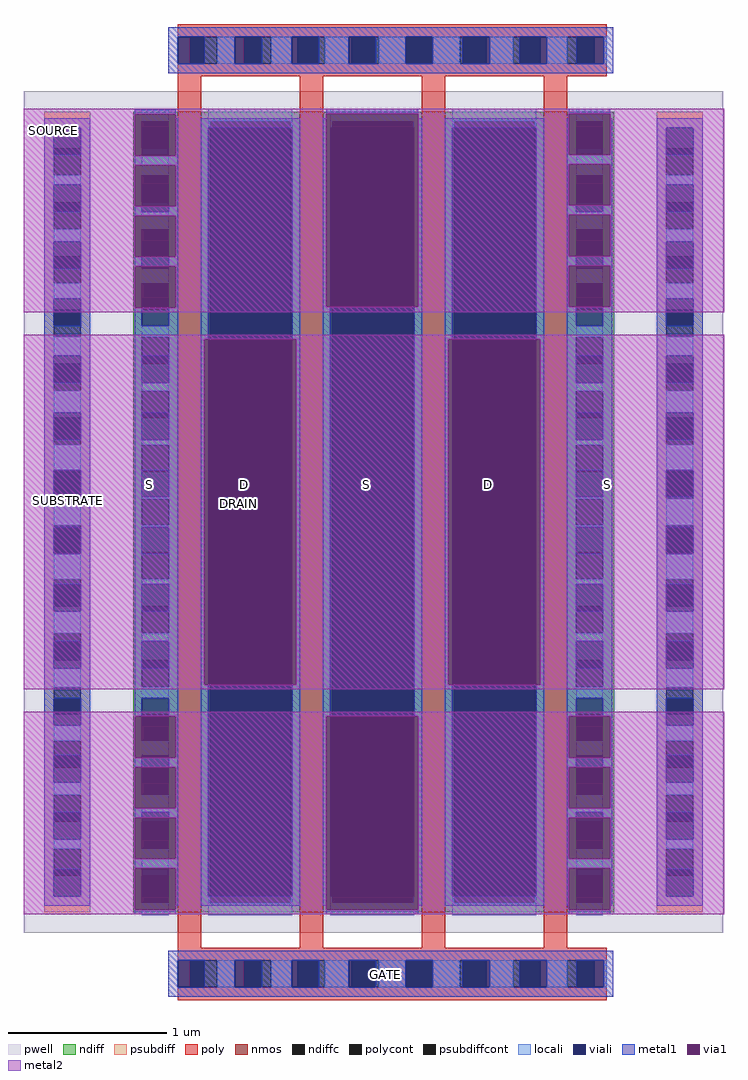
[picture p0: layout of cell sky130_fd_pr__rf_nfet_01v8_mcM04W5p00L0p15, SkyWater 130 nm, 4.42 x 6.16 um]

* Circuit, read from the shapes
.subckt sky130_fd_pr__rf_nfet_01v8_mcM04W5p00L0p15 DRAIN GATE SOURCE SUBSTRATE
XM1 DRAIN GATE SOURCE SUBSTRATE sky130_fd_pr__nfet_01v8 w=5.05 l=0.15 m=4
.ends

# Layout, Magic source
magic
tech sky130A
magscale 1 2
<< pwell >>
rect 0 89 883 1151
<< nmos >>
rect 194 115 224 1125
rect 348 115 378 1125
rect 502 115 532 1125
rect 656 115 686 1125
<< ndiff >>
rect 138 1113 194 1125
rect 138 1079 149 1113
rect 183 1079 194 1113
rect 138 1045 194 1079
rect 138 1011 149 1045
rect 183 1011 194 1045
rect 138 977 194 1011
rect 138 943 149 977
rect 183 943 194 977
rect 138 909 194 943
rect 138 875 149 909
rect 183 875 194 909
rect 138 841 194 875
rect 138 807 149 841
rect 183 807 194 841
rect 138 773 194 807
rect 138 739 149 773
rect 183 739 194 773
rect 138 705 194 739
rect 138 671 149 705
rect 183 671 194 705
rect 138 637 194 671
rect 138 603 149 637
rect 183 603 194 637
rect 138 569 194 603
rect 138 535 149 569
rect 183 535 194 569
rect 138 501 194 535
rect 138 467 149 501
rect 183 467 194 501
rect 138 433 194 467
rect 138 399 149 433
rect 183 399 194 433
rect 138 365 194 399
rect 138 331 149 365
rect 183 331 194 365
rect 138 297 194 331
rect 138 263 149 297
rect 183 263 194 297
rect 138 229 194 263
rect 138 195 149 229
rect 183 195 194 229
rect 138 161 194 195
rect 138 127 149 161
rect 183 127 194 161
rect 138 115 194 127
rect 224 1113 348 1125
rect 224 127 235 1113
rect 337 127 348 1113
rect 224 115 348 127
rect 378 1113 502 1125
rect 378 127 389 1113
rect 491 127 502 1113
rect 378 115 502 127
rect 532 1113 656 1125
rect 532 127 543 1113
rect 645 127 656 1113
rect 532 115 656 127
rect 686 1113 745 1125
rect 686 1079 697 1113
rect 731 1079 745 1113
rect 686 1045 745 1079
rect 686 1011 697 1045
rect 731 1011 745 1045
rect 686 977 745 1011
rect 686 943 697 977
rect 731 943 745 977
rect 686 909 745 943
rect 686 875 697 909
rect 731 875 745 909
rect 686 841 745 875
rect 686 807 697 841
rect 731 807 745 841
rect 686 773 745 807
rect 686 739 697 773
rect 731 739 745 773
rect 686 705 745 739
rect 686 671 697 705
rect 731 671 745 705
rect 686 637 745 671
rect 686 603 697 637
rect 731 603 745 637
rect 686 569 745 603
rect 686 535 697 569
rect 731 535 745 569
rect 686 501 745 535
rect 686 467 697 501
rect 731 467 745 501
rect 686 433 745 467
rect 686 399 697 433
rect 731 399 745 433
rect 686 365 745 399
rect 686 331 697 365
rect 731 331 745 365
rect 686 297 745 331
rect 686 263 697 297
rect 731 263 745 297
rect 686 229 745 263
rect 686 195 697 229
rect 731 195 745 229
rect 686 161 745 195
rect 686 127 697 161
rect 731 127 745 161
rect 686 115 745 127
<< ndiffc >>
rect 149 1079 183 1113
rect 149 1011 183 1045
rect 149 943 183 977
rect 149 875 183 909
rect 149 807 183 841
rect 149 739 183 773
rect 149 671 183 705
rect 149 603 183 637
rect 149 535 183 569
rect 149 467 183 501
rect 149 399 183 433
rect 149 331 183 365
rect 149 263 183 297
rect 149 195 183 229
rect 149 127 183 161
rect 235 127 337 1113
rect 389 127 491 1113
rect 543 127 645 1113
rect 697 1079 731 1113
rect 697 1011 731 1045
rect 697 943 731 977
rect 697 875 731 909
rect 697 807 731 841
rect 697 739 731 773
rect 697 671 731 705
rect 697 603 731 637
rect 697 535 731 569
rect 697 467 731 501
rect 697 399 731 433
rect 697 331 731 365
rect 697 263 731 297
rect 697 195 731 229
rect 697 127 731 161
<< psubdiff >>
rect 26 1079 84 1125
rect 26 1045 38 1079
rect 72 1045 84 1079
rect 26 1011 84 1045
rect 26 977 38 1011
rect 72 977 84 1011
rect 26 943 84 977
rect 26 909 38 943
rect 72 909 84 943
rect 26 875 84 909
rect 26 841 38 875
rect 72 841 84 875
rect 26 807 84 841
rect 26 773 38 807
rect 72 773 84 807
rect 26 739 84 773
rect 26 705 38 739
rect 72 705 84 739
rect 26 671 84 705
rect 26 637 38 671
rect 72 637 84 671
rect 26 603 84 637
rect 26 569 38 603
rect 72 569 84 603
rect 26 535 84 569
rect 26 501 38 535
rect 72 501 84 535
rect 26 467 84 501
rect 26 433 38 467
rect 72 433 84 467
rect 26 399 84 433
rect 26 365 38 399
rect 72 365 84 399
rect 26 331 84 365
rect 26 297 38 331
rect 72 297 84 331
rect 26 263 84 297
rect 26 229 38 263
rect 72 229 84 263
rect 26 195 84 229
rect 26 161 38 195
rect 72 161 84 195
rect 26 115 84 161
rect 799 1079 857 1125
rect 799 1045 811 1079
rect 845 1045 857 1079
rect 799 1011 857 1045
rect 799 977 811 1011
rect 845 977 857 1011
rect 799 943 857 977
rect 799 909 811 943
rect 845 909 857 943
rect 799 875 857 909
rect 799 841 811 875
rect 845 841 857 875
rect 799 807 857 841
rect 799 773 811 807
rect 845 773 857 807
rect 799 739 857 773
rect 799 705 811 739
rect 845 705 857 739
rect 799 671 857 705
rect 799 637 811 671
rect 845 637 857 671
rect 799 603 857 637
rect 799 569 811 603
rect 845 569 857 603
rect 799 535 857 569
rect 799 501 811 535
rect 845 501 857 535
rect 799 467 857 501
rect 799 433 811 467
rect 845 433 857 467
rect 799 399 857 433
rect 799 365 811 399
rect 845 365 857 399
rect 799 331 857 365
rect 799 297 811 331
rect 845 297 857 331
rect 799 263 857 297
rect 799 229 811 263
rect 845 229 857 263
rect 799 195 857 229
rect 799 161 811 195
rect 845 161 857 195
rect 799 115 857 161
<< psubdiffcont >>
rect 38 1045 72 1079
rect 38 977 72 1011
rect 38 909 72 943
rect 38 841 72 875
rect 38 773 72 807
rect 38 705 72 739
rect 38 637 72 671
rect 38 569 72 603
rect 38 501 72 535
rect 38 433 72 467
rect 38 365 72 399
rect 38 297 72 331
rect 38 229 72 263
rect 38 161 72 195
rect 811 1045 845 1079
rect 811 977 845 1011
rect 811 909 845 943
rect 811 841 845 875
rect 811 773 845 807
rect 811 705 845 739
rect 811 637 845 671
rect 811 569 845 603
rect 811 501 845 535
rect 811 433 845 467
rect 811 365 845 399
rect 811 297 845 331
rect 811 229 845 263
rect 811 161 845 195
<< poly >>
rect 194 1220 736 1236
rect 194 1186 210 1220
rect 244 1186 278 1220
rect 312 1186 346 1220
rect 380 1186 414 1220
rect 448 1186 482 1220
rect 516 1186 550 1220
rect 584 1186 618 1220
rect 652 1186 686 1220
rect 720 1186 736 1220
rect 194 1170 736 1186
rect 194 1125 224 1170
rect 348 1125 378 1170
rect 502 1125 532 1170
rect 656 1125 686 1170
rect 194 70 224 115
rect 348 70 378 115
rect 502 70 532 115
rect 656 70 686 115
rect 194 54 736 70
rect 194 20 210 54
rect 244 20 278 54
rect 312 20 346 54
rect 380 20 414 54
rect 448 20 482 54
rect 516 20 550 54
rect 584 20 618 54
rect 652 20 686 54
rect 720 20 736 54
rect 194 4 736 20
<< polycont >>
rect 210 1186 244 1220
rect 278 1186 312 1220
rect 346 1186 380 1220
rect 414 1186 448 1220
rect 482 1186 516 1220
rect 550 1186 584 1220
rect 618 1186 652 1220
rect 686 1186 720 1220
rect 210 20 244 54
rect 278 20 312 54
rect 346 20 380 54
rect 414 20 448 54
rect 482 20 516 54
rect 550 20 584 54
rect 618 20 652 54
rect 686 20 720 54
<< locali >>
rect 244 1186 266 1220
rect 312 1186 338 1220
rect 380 1186 410 1220
rect 448 1186 482 1220
rect 516 1186 550 1220
rect 588 1186 618 1220
rect 660 1186 686 1220
rect 732 1186 736 1220
rect 149 1113 183 1129
rect 38 1033 72 1045
rect 38 961 72 977
rect 38 889 72 909
rect 38 817 72 841
rect 38 745 72 773
rect 38 673 72 705
rect 38 603 72 637
rect 38 535 72 567
rect 38 467 72 495
rect 38 399 72 423
rect 38 331 72 351
rect 38 263 72 279
rect 38 195 72 207
rect 149 1045 183 1071
rect 149 977 183 999
rect 149 909 183 927
rect 149 841 183 855
rect 149 773 183 783
rect 149 705 183 711
rect 149 637 183 639
rect 149 601 183 603
rect 149 529 183 535
rect 149 457 183 467
rect 149 385 183 399
rect 149 313 183 331
rect 149 241 183 263
rect 149 169 183 195
rect 149 111 183 127
rect 233 1113 339 1129
rect 233 1105 235 1113
rect 337 1105 339 1113
rect 233 127 235 135
rect 337 127 339 135
rect 233 111 339 127
rect 387 1113 493 1129
rect 387 1105 389 1113
rect 491 1105 493 1113
rect 387 127 389 135
rect 491 127 493 135
rect 387 111 493 127
rect 541 1113 647 1129
rect 541 1105 543 1113
rect 645 1105 647 1113
rect 541 127 543 135
rect 645 127 647 135
rect 541 111 647 127
rect 697 1113 731 1129
rect 697 1045 731 1071
rect 697 977 731 999
rect 697 909 731 927
rect 697 841 731 855
rect 697 773 731 783
rect 697 705 731 711
rect 697 637 731 639
rect 697 601 731 603
rect 697 529 731 535
rect 697 457 731 467
rect 697 385 731 399
rect 697 313 731 331
rect 697 241 731 263
rect 697 169 731 195
rect 811 1033 845 1045
rect 811 961 845 977
rect 811 889 845 909
rect 811 817 845 841
rect 811 745 845 773
rect 811 673 845 705
rect 811 603 845 637
rect 811 535 845 567
rect 811 467 845 495
rect 811 399 845 423
rect 811 331 845 351
rect 811 263 845 279
rect 811 195 845 207
rect 697 111 731 127
rect 244 20 266 54
rect 312 20 338 54
rect 380 20 410 54
rect 448 20 482 54
rect 516 20 550 54
rect 588 20 618 54
rect 660 20 686 54
rect 732 20 736 54
<< viali >>
rect 194 1186 210 1220
rect 210 1186 228 1220
rect 266 1186 278 1220
rect 278 1186 300 1220
rect 338 1186 346 1220
rect 346 1186 372 1220
rect 410 1186 414 1220
rect 414 1186 444 1220
rect 482 1186 516 1220
rect 554 1186 584 1220
rect 584 1186 588 1220
rect 626 1186 652 1220
rect 652 1186 660 1220
rect 698 1186 720 1220
rect 720 1186 732 1220
rect 38 1079 72 1105
rect 38 1071 72 1079
rect 38 1011 72 1033
rect 38 999 72 1011
rect 38 943 72 961
rect 38 927 72 943
rect 38 875 72 889
rect 38 855 72 875
rect 38 807 72 817
rect 38 783 72 807
rect 38 739 72 745
rect 38 711 72 739
rect 38 671 72 673
rect 38 639 72 671
rect 38 569 72 601
rect 38 567 72 569
rect 38 501 72 529
rect 38 495 72 501
rect 38 433 72 457
rect 38 423 72 433
rect 38 365 72 385
rect 38 351 72 365
rect 38 297 72 313
rect 38 279 72 297
rect 38 229 72 241
rect 38 207 72 229
rect 38 161 72 169
rect 38 135 72 161
rect 149 1079 183 1105
rect 149 1071 183 1079
rect 149 1011 183 1033
rect 149 999 183 1011
rect 149 943 183 961
rect 149 927 183 943
rect 149 875 183 889
rect 149 855 183 875
rect 149 807 183 817
rect 149 783 183 807
rect 149 739 183 745
rect 149 711 183 739
rect 149 671 183 673
rect 149 639 183 671
rect 149 569 183 601
rect 149 567 183 569
rect 149 501 183 529
rect 149 495 183 501
rect 149 433 183 457
rect 149 423 183 433
rect 149 365 183 385
rect 149 351 183 365
rect 149 297 183 313
rect 149 279 183 297
rect 149 229 183 241
rect 149 207 183 229
rect 149 161 183 169
rect 149 135 183 161
rect 233 135 235 1105
rect 235 135 337 1105
rect 337 135 339 1105
rect 387 135 389 1105
rect 389 135 491 1105
rect 491 135 493 1105
rect 541 135 543 1105
rect 543 135 645 1105
rect 645 135 647 1105
rect 697 1079 731 1105
rect 697 1071 731 1079
rect 697 1011 731 1033
rect 697 999 731 1011
rect 697 943 731 961
rect 697 927 731 943
rect 697 875 731 889
rect 697 855 731 875
rect 697 807 731 817
rect 697 783 731 807
rect 697 739 731 745
rect 697 711 731 739
rect 697 671 731 673
rect 697 639 731 671
rect 697 569 731 601
rect 697 567 731 569
rect 697 501 731 529
rect 697 495 731 501
rect 697 433 731 457
rect 697 423 731 433
rect 697 365 731 385
rect 697 351 731 365
rect 697 297 731 313
rect 697 279 731 297
rect 697 229 731 241
rect 697 207 731 229
rect 697 161 731 169
rect 697 135 731 161
rect 811 1079 845 1105
rect 811 1071 845 1079
rect 811 1011 845 1033
rect 811 999 845 1011
rect 811 943 845 961
rect 811 927 845 943
rect 811 875 845 889
rect 811 855 845 875
rect 811 807 845 817
rect 811 783 845 807
rect 811 739 845 745
rect 811 711 845 739
rect 811 671 845 673
rect 811 639 845 671
rect 811 569 845 601
rect 811 567 845 569
rect 811 501 845 529
rect 811 495 845 501
rect 811 433 845 457
rect 811 423 845 433
rect 811 365 845 385
rect 811 351 845 365
rect 811 297 845 313
rect 811 279 845 297
rect 811 229 845 241
rect 811 207 845 229
rect 811 161 845 169
rect 811 135 845 161
rect 194 20 210 54
rect 210 20 228 54
rect 266 20 278 54
rect 278 20 300 54
rect 338 20 346 54
rect 346 20 372 54
rect 410 20 414 54
rect 414 20 444 54
rect 482 20 516 54
rect 554 20 584 54
rect 584 20 588 54
rect 626 20 652 54
rect 652 20 660 54
rect 698 20 720 54
rect 720 20 732 54
<< metal1 >>
rect 182 1220 744 1232
rect 182 1186 194 1220
rect 228 1186 266 1220
rect 300 1186 338 1220
rect 372 1186 410 1220
rect 444 1186 482 1220
rect 516 1186 554 1220
rect 588 1186 626 1220
rect 660 1186 698 1220
rect 732 1186 744 1220
rect 182 1174 744 1186
rect 140 1122 192 1128
rect 26 1105 84 1117
rect 26 1071 38 1105
rect 72 1071 84 1105
rect 26 1033 84 1071
rect 26 999 38 1033
rect 72 999 84 1033
rect 26 961 84 999
rect 26 927 38 961
rect 72 927 84 961
rect 26 889 84 927
rect 26 855 38 889
rect 72 855 84 889
rect 26 817 84 855
rect 26 783 38 817
rect 72 783 84 817
rect 26 745 84 783
rect 26 711 38 745
rect 72 711 84 745
rect 26 673 84 711
rect 26 639 38 673
rect 72 639 84 673
rect 26 601 84 639
rect 26 567 38 601
rect 72 567 84 601
rect 26 529 84 567
rect 26 495 38 529
rect 72 495 84 529
rect 26 457 84 495
rect 26 423 38 457
rect 72 423 84 457
rect 26 385 84 423
rect 26 351 38 385
rect 72 351 84 385
rect 26 313 84 351
rect 26 279 38 313
rect 72 279 84 313
rect 26 241 84 279
rect 26 207 38 241
rect 72 207 84 241
rect 26 169 84 207
rect 26 135 38 169
rect 72 135 84 169
rect 26 123 84 135
rect 382 1123 498 1129
rect 192 1070 195 1117
rect 140 1058 195 1070
rect 192 1006 195 1058
rect 140 999 149 1006
rect 183 999 195 1006
rect 140 994 195 999
rect 192 942 195 994
rect 140 930 149 942
rect 183 930 195 942
rect 192 878 195 930
rect 140 855 149 878
rect 183 855 195 878
rect 140 817 195 855
rect 140 783 149 817
rect 183 783 195 817
rect 140 745 195 783
rect 140 711 149 745
rect 183 711 195 745
rect 140 673 195 711
rect 140 639 149 673
rect 183 639 195 673
rect 140 601 195 639
rect 140 567 149 601
rect 183 567 195 601
rect 140 529 195 567
rect 140 495 149 529
rect 183 495 195 529
rect 140 457 195 495
rect 140 423 149 457
rect 183 423 195 457
rect 140 385 195 423
rect 140 362 149 385
rect 183 362 195 385
rect 192 310 195 362
rect 140 298 149 310
rect 183 298 195 310
rect 192 246 195 298
rect 140 241 195 246
rect 140 234 149 241
rect 183 234 195 241
rect 192 182 195 234
rect 140 170 195 182
rect 192 123 195 170
rect 223 1105 349 1117
rect 223 838 233 1105
rect 339 838 349 1105
rect 223 402 228 838
rect 344 402 349 838
rect 223 135 233 402
rect 339 135 349 402
rect 223 123 349 135
rect 377 879 382 1117
rect 688 1123 740 1129
rect 498 879 503 1117
rect 377 362 387 879
rect 493 362 503 879
rect 377 123 382 362
rect 140 112 192 118
rect 498 123 503 362
rect 531 1105 657 1117
rect 531 838 541 1105
rect 647 838 657 1105
rect 531 402 536 838
rect 652 402 657 838
rect 531 135 541 402
rect 647 135 657 402
rect 531 123 657 135
rect 685 1071 688 1117
rect 740 1071 743 1117
rect 685 1059 743 1071
rect 685 1007 688 1059
rect 740 1007 743 1059
rect 685 999 697 1007
rect 731 999 743 1007
rect 685 995 743 999
rect 685 943 688 995
rect 740 943 743 995
rect 685 931 697 943
rect 731 931 743 943
rect 685 879 688 931
rect 740 879 743 931
rect 685 855 697 879
rect 731 855 743 879
rect 685 817 743 855
rect 685 783 697 817
rect 731 783 743 817
rect 685 745 743 783
rect 685 711 697 745
rect 731 711 743 745
rect 685 673 743 711
rect 685 639 697 673
rect 731 639 743 673
rect 685 601 743 639
rect 685 567 697 601
rect 731 567 743 601
rect 685 529 743 567
rect 685 495 697 529
rect 731 495 743 529
rect 685 457 743 495
rect 685 423 697 457
rect 731 423 743 457
rect 685 385 743 423
rect 685 362 697 385
rect 731 362 743 385
rect 685 310 688 362
rect 740 310 743 362
rect 685 298 697 310
rect 731 298 743 310
rect 685 246 688 298
rect 740 246 743 298
rect 685 241 743 246
rect 685 234 697 241
rect 731 234 743 241
rect 685 182 688 234
rect 740 182 743 234
rect 685 170 743 182
rect 685 123 688 170
rect 382 112 498 118
rect 740 123 743 170
rect 799 1105 857 1117
rect 799 1071 811 1105
rect 845 1071 857 1105
rect 799 1033 857 1071
rect 799 999 811 1033
rect 845 999 857 1033
rect 799 961 857 999
rect 799 927 811 961
rect 845 927 857 961
rect 799 889 857 927
rect 799 855 811 889
rect 845 855 857 889
rect 799 817 857 855
rect 799 783 811 817
rect 845 783 857 817
rect 799 745 857 783
rect 799 711 811 745
rect 845 711 857 745
rect 799 673 857 711
rect 799 639 811 673
rect 845 639 857 673
rect 799 601 857 639
rect 799 567 811 601
rect 845 567 857 601
rect 799 529 857 567
rect 799 495 811 529
rect 845 495 857 529
rect 799 457 857 495
rect 799 423 811 457
rect 845 423 857 457
rect 799 385 857 423
rect 799 351 811 385
rect 845 351 857 385
rect 799 313 857 351
rect 799 279 811 313
rect 845 279 857 313
rect 799 241 857 279
rect 799 207 811 241
rect 845 207 857 241
rect 799 169 857 207
rect 799 135 811 169
rect 845 135 857 169
rect 799 123 857 135
rect 688 112 740 118
rect 182 54 744 66
rect 182 20 194 54
rect 228 20 266 54
rect 300 20 338 54
rect 372 20 410 54
rect 444 20 482 54
rect 516 20 554 54
rect 588 20 626 54
rect 660 20 698 54
rect 732 20 744 54
rect 182 8 744 20
<< via1 >>
rect 140 1105 192 1122
rect 140 1071 149 1105
rect 149 1071 183 1105
rect 183 1071 192 1105
rect 140 1070 192 1071
rect 140 1033 192 1058
rect 140 1006 149 1033
rect 149 1006 183 1033
rect 183 1006 192 1033
rect 140 961 192 994
rect 140 942 149 961
rect 149 942 183 961
rect 183 942 192 961
rect 140 927 149 930
rect 149 927 183 930
rect 183 927 192 930
rect 140 889 192 927
rect 140 878 149 889
rect 149 878 183 889
rect 183 878 192 889
rect 140 351 149 362
rect 149 351 183 362
rect 183 351 192 362
rect 140 313 192 351
rect 140 310 149 313
rect 149 310 183 313
rect 183 310 192 313
rect 140 279 149 298
rect 149 279 183 298
rect 183 279 192 298
rect 140 246 192 279
rect 140 207 149 234
rect 149 207 183 234
rect 183 207 192 234
rect 140 182 192 207
rect 140 169 192 170
rect 140 135 149 169
rect 149 135 183 169
rect 183 135 192 169
rect 140 118 192 135
rect 228 402 233 838
rect 233 402 339 838
rect 339 402 344 838
rect 382 1105 498 1123
rect 382 879 387 1105
rect 387 879 493 1105
rect 493 879 498 1105
rect 382 135 387 362
rect 387 135 493 362
rect 493 135 498 362
rect 382 118 498 135
rect 536 402 541 838
rect 541 402 647 838
rect 647 402 652 838
rect 688 1105 740 1123
rect 688 1071 697 1105
rect 697 1071 731 1105
rect 731 1071 740 1105
rect 688 1033 740 1059
rect 688 1007 697 1033
rect 697 1007 731 1033
rect 731 1007 740 1033
rect 688 961 740 995
rect 688 943 697 961
rect 697 943 731 961
rect 731 943 740 961
rect 688 927 697 931
rect 697 927 731 931
rect 731 927 740 931
rect 688 889 740 927
rect 688 879 697 889
rect 697 879 731 889
rect 731 879 740 889
rect 688 351 697 362
rect 697 351 731 362
rect 731 351 740 362
rect 688 313 740 351
rect 688 310 697 313
rect 697 310 731 313
rect 731 310 740 313
rect 688 279 697 298
rect 697 279 731 298
rect 731 279 740 298
rect 688 246 740 279
rect 688 207 697 234
rect 697 207 731 234
rect 731 207 740 234
rect 688 182 740 207
rect 688 169 740 170
rect 688 135 697 169
rect 697 135 731 169
rect 731 135 740 169
rect 688 118 740 135
<< metal2 >>
rect 0 1123 884 1129
rect 0 1122 382 1123
rect 0 1070 140 1122
rect 192 1070 382 1122
rect 0 1058 382 1070
rect 0 1006 140 1058
rect 192 1006 382 1058
rect 0 994 382 1006
rect 0 942 140 994
rect 192 942 382 994
rect 0 930 382 942
rect 0 878 140 930
rect 192 879 382 930
rect 498 1071 688 1123
rect 740 1071 884 1123
rect 498 1059 884 1071
rect 498 1007 688 1059
rect 740 1007 884 1059
rect 498 995 884 1007
rect 498 943 688 995
rect 740 943 884 995
rect 498 931 884 943
rect 498 879 688 931
rect 740 879 884 931
rect 192 878 884 879
rect 0 872 884 878
rect 0 838 884 844
rect 0 402 228 838
rect 344 402 536 838
rect 652 402 884 838
rect 0 396 884 402
rect 0 362 884 368
rect 0 310 140 362
rect 192 310 382 362
rect 0 298 382 310
rect 0 246 140 298
rect 192 246 382 298
rect 0 234 382 246
rect 0 182 140 234
rect 192 182 382 234
rect 0 170 382 182
rect 0 118 140 170
rect 192 118 382 170
rect 498 310 688 362
rect 740 310 884 362
rect 498 298 884 310
rect 498 246 688 298
rect 740 246 884 298
rect 498 234 884 246
rect 498 182 688 234
rect 740 182 884 234
rect 498 170 884 182
rect 498 118 688 170
rect 740 118 884 170
rect 0 112 884 118
<< labels >>
flabel comment s 737 655 737 655 0 FreeSans 300 0 0 0 S
flabel comment s 278 655 278 655 0 FreeSans 300 0 0 0 D
flabel comment s 586 655 586 655 0 FreeSans 300 0 0 0 D
flabel comment s 432 655 432 655 0 FreeSans 300 0 0 0 S
flabel comment s 158 655 158 655 0 FreeSans 300 180 0 0 S
flabel metal1 s 414 24 500 49 0 FreeSans 200 180 0 0 GATE
port 2 nsew
flabel metal2 s 0 1089 76 1114 0 FreeSans 200 0 0 0 SOURCE
port 3 nsew
flabel metal2 s 233 618 309 643 0 FreeSans 200 0 0 0 DRAIN
port 1 nsew
flabel metal1 s 39 594 74 674 0 FreeSans 400 90 0 0 SUBSTRATE
port 4 nsew
<< properties >>
string GDS_FILE $PDKPATH/libs.ref/sky130_fd_pr/gds/sky130_fd_pr.gds
string GDS_END 7318416
string GDS_START 7288912
<< end >>
